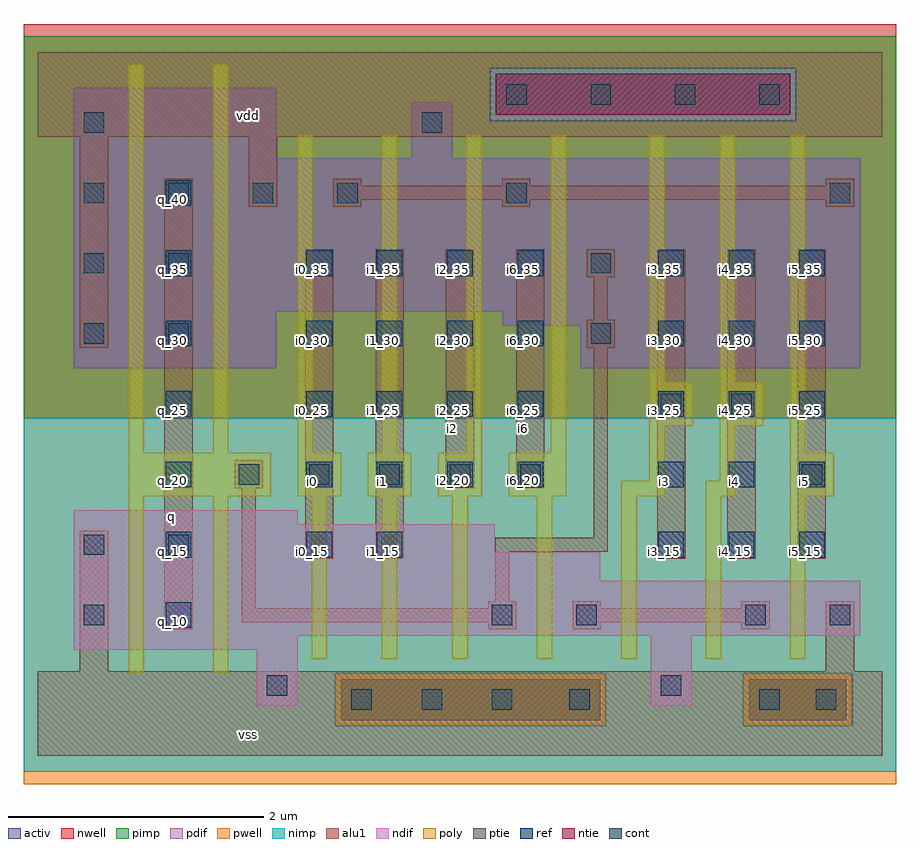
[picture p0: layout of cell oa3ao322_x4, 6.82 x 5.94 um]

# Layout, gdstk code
import gdstk
lib = gdstk.Library(unit=1e-6, precision=2.5e-09)
def R(c, l, rs):  # rectangles x0, y0, x1, y1
    for r in rs: c.add(gdstk.rectangle(r[:2], r[2:], *l))
def A(c, l, x, y, w, h, nx, ny, dx, dy):  # array of equal rectangles
    R(c, l, [(x+i*dx, y+j*dy, x+i*dx+w, y+j*dy+h) for i in range(nx) for j in range(ny)])
ndif = (3, 0)
pdif = (4, 0)
ntie = (5, 0)
ptie = (6, 0)
ref = (24, 0)
cont = (25, 0)
pwell = (41, 0)
nwell = (42, 0)
activ = (43, 0)
pimp = (44, 0)
nimp = (45, 0)
poly = (46, 0)
alu1 = (49, 0)

oa3ao322_x4 = lib.new_cell('oa3ao322_x4')
R(oa3ao322_x4, ndif, [(1.71,0.39,2.03,0.83), (1.71,0.39,2.03,0.83), (4.79,0.39,5.11,0.94), (4.79,0.39,5.11,0.94), (0.28,0.83,2.03,0.94), (0.28,0.83,2.03,0.94), (0.28,0.94,6.43,1.37), (0.28,0.94,6.43,1.37), (0.28,1.37,4.395,1.59), (0.28,1.37,4.395,1.59), (0.28,1.59,3.57,1.81), (0.28,1.59,3.57,1.81), (0.28,1.81,2.03,1.92), (0.28,1.81,2.03,1.92)])
R(oa3ao322_x4, pdif, [(0.28,3.03,1.865,3.47), (0.28,3.03,1.865,3.47), (4.24,3.03,6.43,3.36), (4.24,3.03,6.43,3.36), (3.635,3.36,6.43,3.47), (3.635,3.36,6.43,3.47), (0.28,3.47,6.43,4.67), (0.28,3.47,6.43,4.67), (0.28,4.67,1.865,5.22), (0.28,4.67,1.865,5.22), (2.92,4.67,3.24,5.11), (2.92,4.67,3.24,5.11)])
R(oa3ao322_x4, ntie, [(3.58,5.01,5.88,5.33), (3.58,5.01,5.88,5.33)])
R(oa3ao322_x4, ptie, [(2.37,0.28,4.395,0.6), (2.37,0.28,4.395,0.6), (5.56,0.28,6.32,0.6), (5.56,0.28,6.32,0.6)])
A(oa3ao322_x4, ref, 1, 1, 0.2, 0.2, 1, 7, 0, 0.55)
A(oa3ao322_x4, ref, 4.85, 1.55, 0.2, 0.2, 3, 5, 0.55, 0.55)
A(oa3ao322_x4, ref, 2.1, 2.1, 0.2, 0.2, 4, 4, 0.55, 0.55)
R(oa3ao322_x4, ref, [(2.1,1.55,2.3,1.75), (2.65,1.55,2.85,1.75)])
A(oa3ao322_x4, cont, 2.45, 0.36, 0.16, 0.16, 3, 1, 0.55, 0)
A(oa3ao322_x4, cont, 1.57, 2.12, 0.16, 0.16, 5, 1, 0.55, 0)
A(oa3ao322_x4, cont, 0.36, 4.32, 0.16, 0.16, 4, 1, 0.66, 0)
A(oa3ao322_x4, cont, 3.66, 5.09, 0.16, 0.16, 4, 1, 0.66, 0)
R(oa3ao322_x4, cont, [(4.155,0.36,4.315,0.52), (5.64,0.36,5.8,0.52), (6.08,0.36,6.24,0.52), (1.79,0.47,1.95,0.63), (4.87,0.47,5.03,0.63), (0.36,1.02,0.52,1.18), (3.55,1.02,3.71,1.18), (4.21,1.02,4.37,1.18), (5.53,1.02,5.69,1.18), (6.19,1.02,6.35,1.18), (0.36,1.57,0.52,1.73), (1.02,1.57,1.18,1.73), (5.97,2.12,6.13,2.28), (4.87,2.67,5.03,2.83), (5.42,2.67,5.58,2.83), (0.36,3.22,0.52,3.38), (1.02,3.22,1.18,3.38), (4.32,3.22,4.48,3.38), (0.36,3.77,0.52,3.93), (1.02,3.77,1.18,3.93), (4.32,3.77,4.48,3.93), (3.66,4.32,3.82,4.48), (6.19,4.32,6.35,4.48), (0.36,4.87,0.52,5.03), (3,4.87,3.16,5.03)])
R(oa3ao322_x4, pwell, [(-0.11,-0.22,6.71,2.64)])
R(oa3ao322_x4, nwell, [(-0.11,2.64,6.71,5.72)])
R(oa3ao322_x4, activ, [(2.37,0.28,4.395,0.6), (2.37,0.28,4.395,0.6), (5.56,0.28,6.32,0.6), (5.56,0.28,6.32,0.6), (1.71,0.39,2.03,0.83), (1.71,0.39,2.03,0.83), (4.79,0.39,5.11,0.94), (4.79,0.39,5.11,0.94), (0.28,0.83,2.03,0.94), (0.28,0.83,2.03,0.94), (0.28,0.94,6.43,1.37), (0.28,0.94,6.43,1.37), (0.28,1.37,4.395,1.59), (0.28,1.37,4.395,1.59), (0.28,1.59,3.57,1.81), (0.28,1.59,3.57,1.81), (0.28,1.81,2.03,1.92), (0.28,1.81,2.03,1.92), (0.28,3.03,1.865,3.47), (0.28,3.03,1.865,3.47), (4.24,3.03,6.43,3.36), (4.24,3.03,6.43,3.36), (3.635,3.36,6.43,3.47), (3.635,3.36,6.43,3.47), (0.28,3.47,6.43,4.67), (0.28,3.47,6.43,4.67), (0.28,4.67,1.865,5.22), (0.28,4.67,1.865,5.22), (2.92,4.67,3.24,5.11), (2.92,4.67,3.24,5.11), (3.58,5.01,5.88,5.33), (3.58,5.01,5.88,5.33)])
R(oa3ao322_x4, pimp, [(2.325,0.235,4.44,0.645), (5.515,0.235,6.365,0.645), (-0.11,2.64,6.71,4.965), (-0.11,4.965,3.535,5.375), (5.925,4.965,6.71,5.375), (-0.11,5.375,6.71,5.625)])
R(oa3ao322_x4, nimp, [(-0.11,-0.125,6.71,0.235), (-0.11,0.235,2.325,0.645), (4.44,0.235,5.515,0.645), (6.365,0.235,6.71,0.645), (-0.11,0.645,6.71,2.64), (3.535,4.965,5.925,5.375)])
A(oa3ao322_x4, poly, 2.14, 0.76, 0.12, 1.27, 3, 1, 0.55, 0)
A(oa3ao322_x4, poly, 3.9, 0.76, 0.12, 1.27, 4, 1, 0.66, 0)
A(oa3ao322_x4, poly, 2.03, 2.03, 0.34, 0.34, 3, 1, 0.55, 0)
A(oa3ao322_x4, poly, 2.03, 2.37, 0.12, 2.48, 4, 1, 0.66, 0)
R(oa3ao322_x4, poly, [(0.71,0.65,0.83,2.03), (1.37,0.65,1.49,2.03), (0.71,2.03,1.82,2.37), (3.68,2.03,4.13,2.37), (4.56,2.03,4.9,2.15), (5.22,2.03,5.45,2.15), (5.88,2.03,6.22,2.37), (4.78,2.15,4.9,2.58), (5.33,2.15,5.45,2.58), (0.71,2.37,0.83,5.4), (1.37,2.37,1.49,5.4), (5.88,2.37,6,4.85), (4.78,2.58,5.12,2.92), (5.33,2.58,5.67,2.92), (4.78,2.92,4.9,4.85), (5.33,2.92,5.45,4.85)])
A(oa3ao322_x4, alu1, 4.84, 1.54, 0.22, 2.42, 3, 1, 0.55, 0)
R(oa3ao322_x4, alu1, [(0,0,6.6,0.66), (0.33,0.66,0.55,1.76), (6.16,0.66,6.38,1.21), (0.99,0.99,1.21,4.51), (3.52,0.99,3.74,1.045), (4.18,0.99,4.4,1.045), (5.5,0.99,5.72,1.045), (1.595,1.045,3.74,1.155), (4.18,1.045,5.72,1.155), (1.595,1.155,1.705,2.09), (3.52,1.155,3.74,1.21), (4.18,1.155,4.4,1.21), (5.5,1.155,5.72,1.21), (3.575,1.21,3.685,1.595), (2.09,1.54,2.31,3.96), (2.64,1.54,2.86,3.96), (3.575,1.595,4.455,1.705), (4.345,1.705,4.455,3.19), (1.54,2.09,1.76,2.31), (3.19,2.09,3.41,3.96), (3.74,2.09,3.96,3.96), (0.33,3.19,0.55,4.84), (4.29,3.19,4.51,3.41), (4.345,3.41,4.455,3.74), (4.29,3.74,4.51,3.96), (1.65,4.29,1.87,4.84), (2.31,4.29,2.53,4.345), (3.63,4.29,3.85,4.345), (6.16,4.29,6.38,4.345), (2.31,4.345,6.38,4.455), (2.31,4.455,2.53,4.51), (3.63,4.455,3.85,4.51), (6.16,4.455,6.38,4.51), (0,4.84,6.6,5.5)])
oa3ao322_x4.add(gdstk.Label('vss', (1.65,0.165), layer=49, texttype=0))
oa3ao322_x4.add(gdstk.Label('i5', (5.995,2.145), layer=49, texttype=0))
oa3ao322_x4.add(gdstk.Label('i4', (5.445,2.145), layer=49, texttype=0))
oa3ao322_x4.add(gdstk.Label('i3', (4.895,2.145), layer=49, texttype=0))
oa3ao322_x4.add(gdstk.Label('i6', (3.795,2.5575), layer=49, texttype=0))
oa3ao322_x4.add(gdstk.Label('i2', (3.245,2.5575), layer=49, texttype=0))
oa3ao322_x4.add(gdstk.Label('i1', (2.695,2.145), layer=49, texttype=0))
oa3ao322_x4.add(gdstk.Label('i0', (2.145,2.145), layer=49, texttype=0))
oa3ao322_x4.add(gdstk.Label('q', (1.045,1.87), layer=49, texttype=0))
oa3ao322_x4.add(gdstk.Label('vdd', (1.65,5.005), layer=49, texttype=0))
oa3ao322_x4.add(gdstk.Label('i6_35', (3.8,3.8), layer=24, texttype=0))
oa3ao322_x4.add(gdstk.Label('i1_15', (2.7,1.6), layer=24, texttype=0))
oa3ao322_x4.add(gdstk.Label('i1_20', (2.7,2.15), layer=24, texttype=0))
oa3ao322_x4.add(gdstk.Label('i1_25', (2.7,2.7), layer=24, texttype=0))
oa3ao322_x4.add(gdstk.Label('i1_30', (2.7,3.25), layer=24, texttype=0))
oa3ao322_x4.add(gdstk.Label('i1_35', (2.7,3.8), layer=24, texttype=0))
oa3ao322_x4.add(gdstk.Label('q_35', (1.05,3.8), layer=24, texttype=0))
oa3ao322_x4.add(gdstk.Label('i2_20', (3.25,2.15), layer=24, texttype=0))
oa3ao322_x4.add(gdstk.Label('i3_20', (4.9,2.15), layer=24, texttype=0))
oa3ao322_x4.add(gdstk.Label('i3_25', (4.9,2.7), layer=24, texttype=0))
oa3ao322_x4.add(gdstk.Label('i2_25', (3.25,2.7), layer=24, texttype=0))
oa3ao322_x4.add(gdstk.Label('i2_30', (3.25,3.25), layer=24, texttype=0))
oa3ao322_x4.add(gdstk.Label('i2_35', (3.25,3.8), layer=24, texttype=0))
oa3ao322_x4.add(gdstk.Label('i6_20', (3.8,2.15), layer=24, texttype=0))
oa3ao322_x4.add(gdstk.Label('i6_25', (3.8,2.7), layer=24, texttype=0))
oa3ao322_x4.add(gdstk.Label('i6_30', (3.8,3.25), layer=24, texttype=0))
oa3ao322_x4.add(gdstk.Label('i4_15', (5.45,1.6), layer=24, texttype=0))
oa3ao322_x4.add(gdstk.Label('i4_20', (5.45,2.15), layer=24, texttype=0))
oa3ao322_x4.add(gdstk.Label('i4_25', (5.45,2.7), layer=24, texttype=0))
oa3ao322_x4.add(gdstk.Label('i4_30', (5.45,3.25), layer=24, texttype=0))
oa3ao322_x4.add(gdstk.Label('i4_35', (5.45,3.8), layer=24, texttype=0))
oa3ao322_x4.add(gdstk.Label('i5_15', (6,1.6), layer=24, texttype=0))
oa3ao322_x4.add(gdstk.Label('i5_20', (6,2.15), layer=24, texttype=0))
oa3ao322_x4.add(gdstk.Label('i3_15', (4.9,1.6), layer=24, texttype=0))
oa3ao322_x4.add(gdstk.Label('i5_25', (6,2.7), layer=24, texttype=0))
oa3ao322_x4.add(gdstk.Label('i5_30', (6,3.25), layer=24, texttype=0))
oa3ao322_x4.add(gdstk.Label('i5_35', (6,3.8), layer=24, texttype=0))
oa3ao322_x4.add(gdstk.Label('i0_15', (2.15,1.6), layer=24, texttype=0))
oa3ao322_x4.add(gdstk.Label('i0_20', (2.15,2.15), layer=24, texttype=0))
oa3ao322_x4.add(gdstk.Label('i0_25', (2.15,2.7), layer=24, texttype=0))
oa3ao322_x4.add(gdstk.Label('i0_30', (2.15,3.25), layer=24, texttype=0))
oa3ao322_x4.add(gdstk.Label('i3_30', (4.9,3.25), layer=24, texttype=0))
oa3ao322_x4.add(gdstk.Label('q_30', (1.05,3.25), layer=24, texttype=0))
oa3ao322_x4.add(gdstk.Label('q_25', (1.05,2.7), layer=24, texttype=0))
oa3ao322_x4.add(gdstk.Label('q_20', (1.05,2.15), layer=24, texttype=0))
oa3ao322_x4.add(gdstk.Label('q_15', (1.05,1.6), layer=24, texttype=0))
oa3ao322_x4.add(gdstk.Label('q_10', (1.05,1.05), layer=24, texttype=0))
oa3ao322_x4.add(gdstk.Label('q_40', (1.05,4.35), layer=24, texttype=0))
oa3ao322_x4.add(gdstk.Label('i0_35', (2.15,3.8), layer=24, texttype=0))
oa3ao322_x4.add(gdstk.Label('i3_35', (4.9,3.8), layer=24, texttype=0))

lib.write_gds('oa3ao322_x4.gds')
